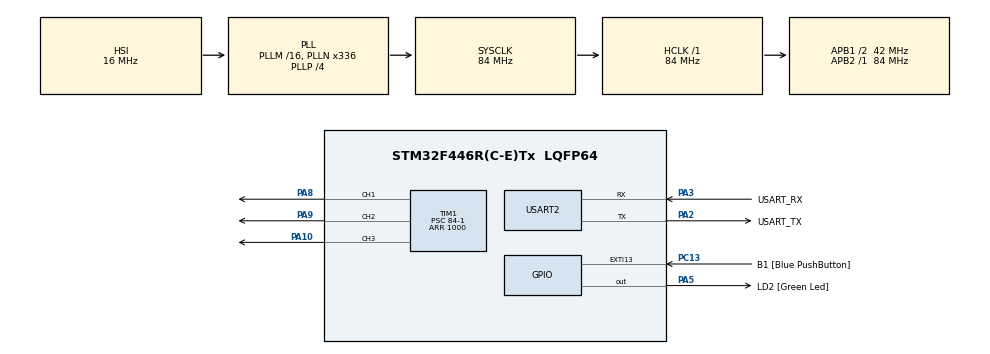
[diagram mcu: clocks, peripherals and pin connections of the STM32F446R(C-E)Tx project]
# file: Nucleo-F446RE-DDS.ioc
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Mcu.Family=STM32F4
Mcu.Name=STM32F446R(C-E)Tx
Mcu.Package=LQFP64
NVIC.PriorityGroup=NVIC_PRIORITYGROUP_0
NVIC.TIM6_DAC_IRQn=true\:0\:0\:false\:false\:true\:true\:true\:true
PA10.Signal=S_TIM1_CH3
PA13.GPIO_Label=TMS
PA13.Mode=Serial_Wire
PA13.Signal=SYS_JTMS-SWDIO
PA14.GPIO_Label=TCK
PA14.Mode=Serial_Wire
PA14.Signal=SYS_JTCK-SWCLK
PA2.GPIO_Label=USART_TX
PA2.Mode=Asynchronous
PA2.Signal=USART2_TX
PA3.GPIO_Label=USART_RX
PA3.Mode=Asynchronous
PA3.Signal=USART2_RX
PA5.GPIO_Label=LD2 [Green Led]
PA5.Signal=GPIO_Output
PA8.Signal=S_TIM1_CH1
PA9.Signal=S_TIM1_CH2
PB3.GPIO_Label=SWO
PB3.Signal=SYS_JTDO-SWO
PC13.GPIO_Label=B1 [Blue PushButton]
PC13.GPIO_ModeDefaultEXTI=GPIO_MODE_IT_FALLING
PC13.Signal=GPXTI13
PC14-OSC32_IN.Mode=LSE-External-Oscillator
PC14-OSC32_IN.Signal=RCC_OSC32_IN
PC15-OSC32_OUT.Mode=LSE-External-Oscillator
PC15-OSC32_OUT.Signal=RCC_OSC32_OUT
PH0-OSC_IN.Mode=HSE-External-Oscillator
PH0-OSC_IN.Signal=RCC_OSC_IN
PH1-OSC_OUT.Mode=HSE-External-Oscillator
PH1-OSC_OUT.Signal=RCC_OSC_OUT
ProjectManager.HeapSize=0x200
ProjectManager.StackSize=0x400
ProjectManager.TargetToolchain=STM32CubeIDE
RCC.48MHZClocksFreq_Value=84000000
RCC.AHBFreq_Value=84000000
RCC.APB1CLKDivider=RCC_HCLK_DIV2
RCC.APB1Freq_Value=42000000
RCC.APB1TimFreq_Value=84000000
RCC.APB2Freq_Value=84000000
RCC.APB2TimFreq_Value=84000000
RCC.CortexFreq_Value=84000000
RCC.FLatency-AdvancedSettings=FLASH_LATENCY_2
RCC.HCLKFreq_Value=84000000
RCC.HSE_VALUE=8000000
RCC.HSI_VALUE=16000000
RCC.PLLN=336
RCC.PLLP=RCC_PLLP_DIV4
RCC.SYSCLKFreq_VALUE=84000000
RCC.SYSCLKSource=RCC_SYSCLKSOURCE_PLLCLK
RCC.USBFreq_Value=168000000
RCC.VCOOutputFreq_Value=336000000
SH.S_TIM1_CH1.0=TIM1_CH1,PWM Generation1 CH1
SH.S_TIM1_CH2.0=TIM1_CH2,PWM Generation2 CH2
SH.S_TIM1_CH3.0=TIM1_CH3,PWM Generation3 CH3
TIM1.Channel-PWM\ Generation1\ CH1=TIM_CHANNEL_1
TIM1.Channel-PWM\ Generation2\ CH2=TIM_CHANNEL_2
TIM1.Channel-PWM\ Generation3\ CH3=TIM_CHANNEL_3
TIM1.Period=1000
TIM1.Prescaler=84-1
TIM1.Pulse-PWM\ Generation1\ CH1=500
TIM1.Pulse-PWM\ Generation2\ CH2=500
TIM1.Pulse-PWM\ Generation3\ CH3=500
TIM6.Period=2000-1
TIM6.Prescaler=84-1
USART2.VirtualMode=VM_ASYNC
VP_TIM6_VS_ClockSourceINT.Mode=Enable_Timer
board=NUCLEO-F446RE

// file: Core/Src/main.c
/* USER CODE BEGIN Header */
/**
  ******************************************************************************
  * @file           : main.c
  * @brief          : Main program body
  ******************************************************************************
  * @attention
  *
  * Copyright (c) 2024 STMicroelectronics.
  * All rights reserved.
  *
  * This software is licensed under terms that can be found in the LICENSE file
  * in the root directory of this software component.
  * If no LICENSE file comes with this software, it is provided AS-IS.
  *
  *
  * Very Straight forward 3 Phase 50Hz DDS Signal Generator
  * PWM Sine Pattern on TIM1 Ch1, TIM1 Ch2, TIM1 Ch3
  * - Ch1 = PA8  ( CN10-23 )
  * - Ch2 = PA9  ( CN10-21 )
  * - Ch3 = PA10 ( CN10-33 )
  *
  * TIM6 Interrupt for Look Up table increment
  * Nucleo LED blink 5Hz
  *
  *
  *
  *
  *
  ******************************************************************************
  */
/* USER CODE END Header */
#include "main.h"
#include "tim.h"
#include "usart.h"
#include "gpio.h"

/* USER CODE BEGIN Includes */

#define DDS_START_CLK_TIMER()	HAL_TIM_Base_Start_IT(&htim6) 				// heart beat timer = dds clock timer

#define DDS_START_PWM_TIMER()		HAL_TIM_PWM_Start(&htim1, TIM_CHANNEL_1)			// PWM driver
#define DDS_SET_DUTY_CYCLE_CH1(DC)	__HAL_TIM_SET_COMPARE(&htim1, TIM_CHANNEL_1, DC)	// set duty cycle
#define DDS_SET_DUTY_CYCLE_CH2(DC)	__HAL_TIM_SET_COMPARE(&htim1, TIM_CHANNEL_2, DC)
#define DDS_SET_DUTY_CYCLE_CH3(DC)	__HAL_TIM_SET_COMPARE(&htim1, TIM_CHANNEL_3, DC)

#define N_LUT		512UL
#define REF_CLK		503UL			// choose prime number to not have whole multiple of f_out
#define FULL_RES 	0xFFFFFFFFUL

/* log2(LUT_Lenght) = n = Bit Truncation, 2^n = LUT_Length, 4096 => 12, 2048 => 11, ...*/
#if N_LUT== 128
	#define DDS_TRUNCTION_BIT 7
#elif N_LUT == 256
	#define DDS_TRUNCTION_BIT 8
#elif N_LUT == 512
	#define DDS_TRUNCTION_BIT 9
#elif N_LUT == 1024
	#define DDS_TRUNCTION_BIT 10
#elif N_LUT == 2048
	#define DDS_TRUNCTION_BIT 11
#elif N_LUT == 4096
	#define DDS_TRUNCTION_BIT 12
#else
	#define DDS_TRUNCTION_BIT 9
#endif

static uint32_t DDS_LUT[N_LUT] = {
500, 506, 512, 518, 524, 530, 536, 542, 549, 555, 561, 567, 573, 579, 585, 591, 597, 603, 609, 615,
621, 627, 633, 639, 645, 651, 657, 662, 668, 674, 680, 686, 691, 697, 702, 708, 714, 719, 725, 730,
736, 741, 746, 752, 757, 762, 767, 773, 778, 783, 788, 793, 798, 803, 808, 812, 817, 822, 827, 831,
836, 840, 845, 849, 854, 858, 862, 866, 871, 875, 879, 883, 887, 890, 894, 898, 902, 905, 909, 912,
916, 919, 922, 926, 929, 932, 935, 938, 941, 944, 947, 949, 952, 955, 957, 960, 962, 964, 966, 969,
971, 973, 975, 977, 978, 980, 982, 983, 985, 986, 988, 989, 990, 991, 992, 993, 994, 995, 996, 997,
997, 998, 998, 999, 999, 999, 999, 999, 999, 999, 999, 999, 999, 998, 998, 998, 997, 996, 996, 995,
994, 993, 992, 991, 990, 988, 987, 986, 984, 983, 981, 979, 977, 976, 974, 972, 970, 968, 965, 963,
961, 958, 956, 953, 951, 948, 945, 942, 940, 937, 934, 930, 927, 924, 921, 917, 914, 911, 907, 903,
900, 896, 892, 888, 885, 881, 877, 873, 868, 864, 860, 856, 851, 847, 843, 838, 834, 829, 824, 820,
815, 810, 805, 800, 795, 790, 785, 780, 775, 770, 765, 760, 754, 749, 744, 738, 733, 727, 722, 716,
711, 705, 700, 694, 688, 683, 677, 671, 665, 660, 654, 648, 642, 636, 630, 624, 618, 612, 606, 600,
594, 588, 582, 576, 570, 564, 558, 552, 546, 539, 533, 527, 521, 515, 509, 503, 496, 490, 484, 478,
472, 466, 460, 453, 447, 441, 435, 429, 423, 417, 411, 405, 399, 393, 387, 381, 375, 369, 363, 357,
351, 345, 339, 334, 328, 322, 316, 311, 305, 299, 294, 288, 283, 277, 272, 266, 261, 255, 250, 245,
239, 234, 229, 224, 219, 214, 209, 204, 199, 194, 189, 184, 179, 175, 170, 165, 161, 156, 152, 148,
143, 139, 135, 131, 126, 122, 118, 114, 111, 107, 103, 99, 96, 92, 88, 85, 82, 78, 75, 72,
69, 65, 62, 59, 57, 54, 51, 48, 46, 43, 41, 38, 36, 34, 31, 29, 27, 25, 23, 22,
20, 18, 16, 15, 13, 12, 11, 9, 8, 7, 6, 5, 4, 3, 3, 2, 1, 1, 1, 0,
0, 0, 0, 0, 0, 0, 0, 0, 0, 1, 1, 2, 2, 3, 4, 5, 6, 7, 8, 9,
10, 11, 13, 14, 16, 17, 19, 21, 22, 24, 26, 28, 30, 33, 35, 37, 39, 42, 44, 47,
50, 52, 55, 58, 61, 64, 67, 70, 73, 77, 80, 83, 87, 90, 94, 97, 101, 105, 109, 112,
116, 120, 124, 128, 133, 137, 141, 145, 150, 154, 159, 163, 168, 172, 177, 182, 187, 191, 196, 201,
206, 211, 216, 221, 226, 232, 237, 242, 247, 253, 258, 263, 269, 274, 280, 285, 291, 297, 302, 308,
313, 319, 325, 331, 337, 342, 348, 354, 360, 366, 372, 378, 384, 390, 396, 402, 408, 414, 420, 426,
432, 438, 444, 450, 457, 463, 469, 475, 481, 487, 493, 499,
};

static uint32_t dds_f_out = 50; 		// Hz
static uint32_t M = 0;					//
static uint32_t phase_accu = 0;			//
static uint32_t sin_lut_pointer = 0;	// position in Look Up table ( DDS_LUT[] )

/* USER CODE END Includes */

void SystemClock_Config(void);

int main(void)
{

  /* MCU Configuration--------------------------------------------------------*/

  /* Reset of all peripherals, Initializes the Flash interface and the Systick. */
  HAL_Init();

  /* Configure the system clock */
  SystemClock_Config();

  /* Initialize all configured peripherals */
  MX_GPIO_Init();
  MX_USART2_UART_Init();
  MX_TIM1_Init();
  MX_TIM6_Init();
  /* USER CODE BEGIN 2 */

  M = (FULL_RES / REF_CLK * dds_f_out);
  DDS_START_CLK_TIMER();
  DDS_START_PWM_TIMER();		// f(PWM) is set to 1kHz in cubeMX, Duty Cycle max = 1000
  DDS_SET_DUTY_CYCLE_CH1(300);	// just for testing

  /* USER CODE END 2 */

  /* Infinite loop */
  while (1)
  {

  }
}

void SystemClock_Config(void)
{
  RCC_OscInitTypeDef RCC_OscInitStruct = {0};
  RCC_ClkInitTypeDef RCC_ClkInitStruct = {0};

  /** Configure the main internal regulator output voltage
  */
  __HAL_RCC_PWR_CLK_ENABLE();
  __HAL_PWR_VOLTAGESCALING_CONFIG(PWR_REGULATOR_VOLTAGE_SCALE3);

  /** Initializes the RCC Oscillators according to the specified parameters
  * in the RCC_OscInitTypeDef structure.
  */
  RCC_OscInitStruct.OscillatorType = RCC_OSCILLATORTYPE_HSI;
  RCC_OscInitStruct.HSIState = RCC_HSI_ON;
  RCC_OscInitStruct.HSICalibrationValue = RCC_HSICALIBRATION_DEFAULT;
  RCC_OscInitStruct.PLL.PLLState = RCC_PLL_ON;
  RCC_OscInitStruct.PLL.PLLSource = RCC_PLLSOURCE_HSI;
  RCC_OscInitStruct.PLL.PLLM = 16;
  RCC_OscInitStruct.PLL.PLLN = 336;
  RCC_OscInitStruct.PLL.PLLP = RCC_PLLP_DIV4;
  RCC_OscInitStruct.PLL.PLLQ = 2;
  RCC_OscInitStruct.PLL.PLLR = 2;
  if (HAL_RCC_OscConfig(&RCC_OscInitStruct) != HAL_OK)
  {
    Error_Handler();
  }

  /** Initializes the CPU, AHB and APB buses clocks
  */
  RCC_ClkInitStruct.ClockType = RCC_CLOCKTYPE_HCLK|RCC_CLOCKTYPE_SYSCLK
                              |RCC_CLOCKTYPE_PCLK1|RCC_CLOCKTYPE_PCLK2;
  RCC_ClkInitStruct.SYSCLKSource = RCC_SYSCLKSOURCE_PLLCLK;
  RCC_ClkInitStruct.AHBCLKDivider = RCC_SYSCLK_DIV1;
  RCC_ClkInitStruct.APB1CLKDivider = RCC_HCLK_DIV2;
  RCC_ClkInitStruct.APB2CLKDivider = RCC_HCLK_DIV1;

  if (HAL_RCC_ClockConfig(&RCC_ClkInitStruct, FLASH_LATENCY_2) != HAL_OK)
  {
    Error_Handler();
  }
}

/* USER CODE BEGIN 4 */

void HAL_TIM_PeriodElapsedCallback(TIM_HandleTypeDef *htim) {

	static uint32_t cnt = 0;
	/* 500Hz IRQ for DDS Tuning Wheel Phase Output */
	if (htim->Instance == TIM6) {
		M = (FULL_RES / REF_CLK * dds_f_out);
		phase_accu += M;
	 	sin_lut_pointer = phase_accu >> (32 - DDS_TRUNCTION_BIT);
	 	DDS_SET_DUTY_CYCLE_CH1( DDS_LUT[sin_lut_pointer] );

		cnt++;
		if (cnt == 100-1){
			HAL_GPIO_TogglePin(LD2_GPIO_Port, LD2_Pin);
			cnt = 0;
		}
	}
}

/* USER CODE END 4 */

void Error_Handler(void)
{
  __disable_irq();
  while (1)
  {
  }
}
